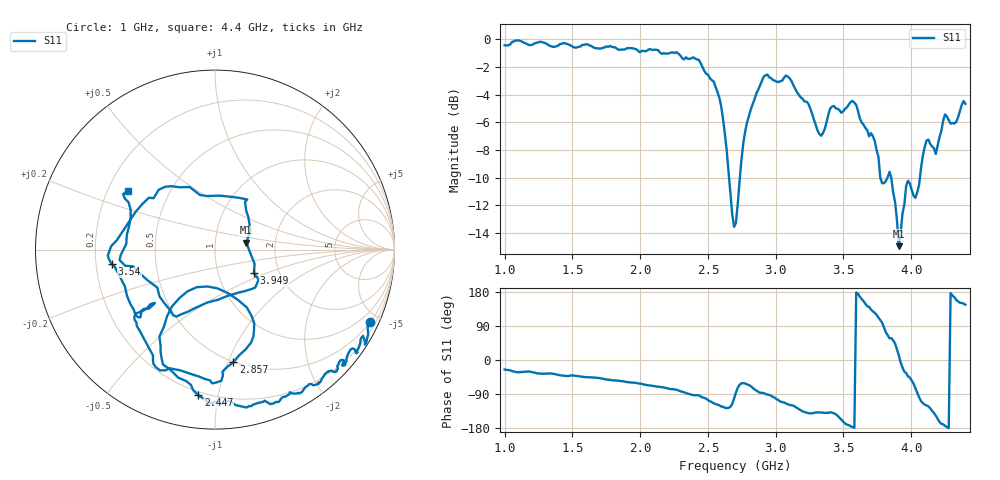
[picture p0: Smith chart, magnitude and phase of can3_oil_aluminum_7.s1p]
# MHz S MA R 50
!  freq  S11
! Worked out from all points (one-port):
!   250 points, 1 GHz to 4.4 GHz, reference 50 ohm
!   lowest |S11| = -15.0 dB at 3.908 GHz (marker M1), VSWR 1.44, Z = 70.9 + j5.73 ohm
!   |S11| at or under -10 dB: 2.656 GHz to 2.736 GHz (79.83 MHz wide, 2.96 % of centre); 3.772 GHz to 3.825 GHz (53.46 MHz wide, 1.41 % of centre); 3.853 GHz to 4.065 GHz (211.8 MHz wide, 5.35 % of centre)
!   S11 on the Smith chart (normalised r, x): 1 GHz: 0.52, -4.43; 2.447 GHz: 0.18, -0.88; 2.857 GHz: 0.50, -1.05; 3.54 GHz: 0.27, -0.07; 3.949 GHz: 1.48, -0.41; 4.4 GHz: 0.29, +0.28
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1000  0.9515 -25.1
1436.948  0.9695 -41.6
1860.241  0.9177 -55.8
2283.534  0.8852 -80.5
2447.39  0.8174 -96.5
2597.59  0.5743 -122.6
2665.863  0.279 -123.4
2706.827  0.2168 -86.0
2775.1  0.465 -62.0
2857.028  0.6364 -80.7
2938.956  0.7452 -91.2
3130.12  0.6829 -120.4
3239.357  0.5869 -140.1
3334.94  0.4479 -138.4
3430.522  0.5738 -140.8
3539.759  0.5802 -171.8
3553.414  0.5937 -174.9
3717.269  0.4463 128.3
3785.542  0.3019 98.6
3840.161  0.3319 57.2
3908.434  0.1788 12.7
3949.398  0.2524 -31.0
3976.707  0.308 -43.2
4031.325  0.2672 -74.9
4126.908  0.4339 -122.4
4181.526  0.3848 -146.7
4249.799  0.5351 -173.8
4400  0.5843 145.9
